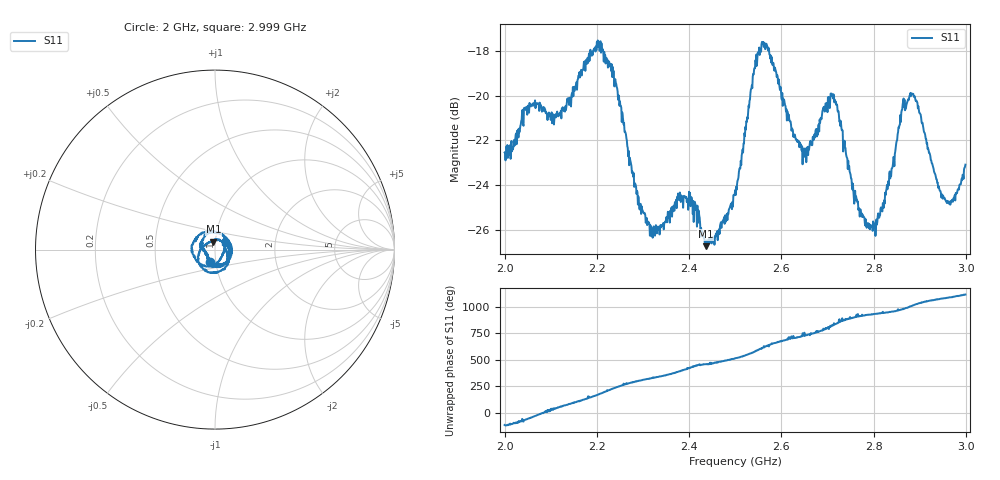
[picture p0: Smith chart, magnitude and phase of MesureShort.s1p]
# MHz S MA R 50.0
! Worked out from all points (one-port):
!   1000 points, 2 GHz to 2.999 GHz, reference 50 ohm
!   lowest |S11| = -26.7 dB at 2.436 GHz (marker M1), VSWR 1.10, Z = 48.9 + j4.41 ohm
!   |S11| at or under -10 dB: start of sweep to end of sweep
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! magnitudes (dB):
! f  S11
! 2 GHz  -22.5
! 2.047 GHz  -20.7
! 2.125 GHz  -20.7
! 2.203 GHz  -17.8
! 2.25 GHz  -20.3
! 2.291 GHz  -24.7
! 2.316 GHz  -25.8
! 2.375 GHz  -24.6
! 2.404 GHz  -24.8
! 2.436 GHz  -26.7
! 2.459 GHz  -26.2
! 2.5 GHz  -24.2
! 2.541 GHz  -18.8
! 2.559 GHz  -17.6
! 2.572 GHz  -17.9
! 2.625 GHz  -21.6
! 2.655 GHz  -22.6
! 2.712 GHz  -20.1
! 2.75 GHz  -23.5
! 2.772 GHz  -25.1
! 2.803 GHz  -25.7
! 2.841 GHz  -23.2
! 2.862 GHz  -20.6
! 2.875 GHz  -20.2
! 2.893 GHz  -20.2
! 2.955 GHz  -24.7
! 2.972 GHz  -24.7
! 2.999 GHz  -23.1
